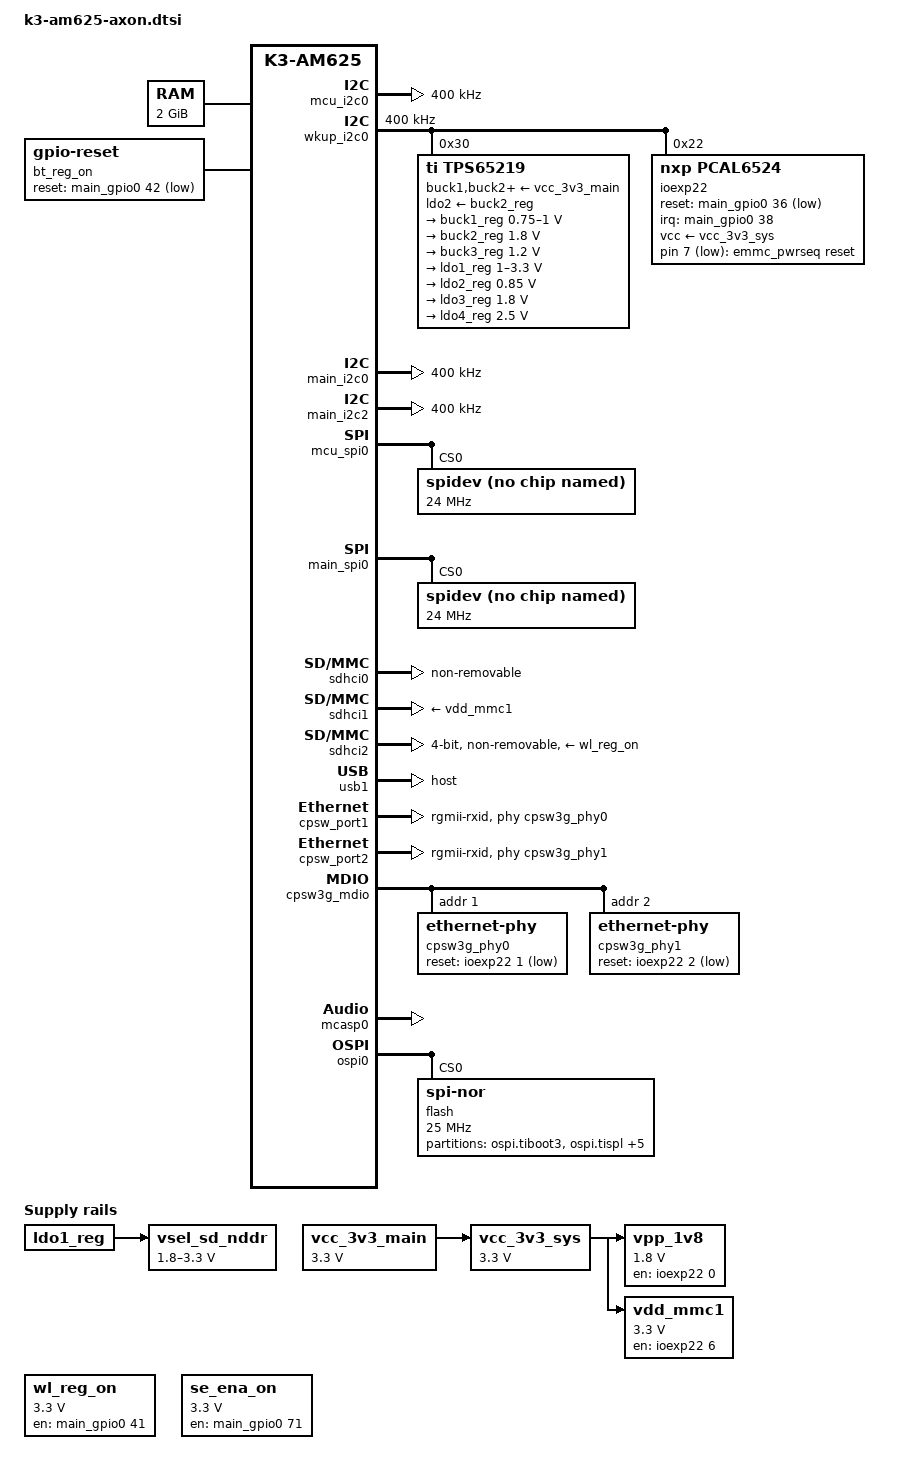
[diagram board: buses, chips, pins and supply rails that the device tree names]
// SPDX-License-Identifier: GPL-2.0
/*
 * Copyright (C) 2021-2022 Texas Instruments Incorporated - https://www.ti.com/
 * Copyright 2023 TechNexion Ltd.
 *
 * Author: Ray Chang <ray.chang@technexion.com>
 *
 */

/ {
	aliases {
		serial0 = &mcu_uart0;
		serial1 = &main_uart1;
		serial2 = &main_uart0;
		mmc0 = &sdhci0;
		mmc1 = &sdhci1;
		mmc2 = &sdhci2;
		spi0 = &ospi0;
		usb0 = &usb0;
		usb1 = &usb1;
		ethernet0 = &cpsw_port1;
		ethernet1 = &cpsw_port2;
	};

	chosen {
		stdout-path = "serial2:115200n8";
		bootargs = "console=ttyS2,115200n8 earlycon=ns16550a,mmio32,0x02800000";
	};

	opp-table {
		/* Add 1.4GHz OPP for am625 board. Requires VDD_CORE to be at 0.85V */
		opp-1400000000 {
			opp-hz = /bits/ 64 <1400000000>;
			opp-supported-hw = <0x01 0x0004>;
			clock-latency-ns = <6000000>;
		};
	};

	memory@80000000 {
		device_type = "memory";
		/* 2G RAM */
		reg = <0x00000000 0x80000000 0x00000000 0x80000000>;

	};

	reserved-memory {
		#address-cells = <2>;
		#size-cells = <2>;
		ranges;

		linux,cma {
			compatible = "shared-dma-pool";
			reusable;
			size = <0 0x14000000>;
			alloc-ranges = <0 0x80000000 0 0x40000000>;
			linux,cma-default;
		};

		rtos_ipc_memory_region: ipc-memories@9c800000 {
			compatible = "shared-dma-pool";
			reg = <0x00 0x9c800000 0x00 0x00300000>;
			no-map;
		};

		mcu_m4fss_dma_memory_region: m4f-dma-memory@9cb00000 {
			compatible = "shared-dma-pool";
			reg = <0x00 0x9cb00000 0x00 0x100000>;
			no-map;
		};

		mcu_m4fss_memory_region: m4f-memory@9cc00000 {
			compatible = "shared-dma-pool";
			reg = <0x00 0x9cc00000 0x00 0xe00000>;
			no-map;
		};

		wkup_r5fss0_core0_dma_memory_region: r5f-dma-memory@9da00000 {
			compatible = "shared-dma-pool";
			reg = <0x00 0x9da00000 0x00 0x00100000>;
			no-map;
		};

		wkup_r5fss0_core0_memory_region: r5f-memory@9db00000 {
			compatible = "shared-dma-pool";
			reg = <0x00 0x9db00000 0x00 0x00c00000>;
			no-map;
		};

		lpm_ctx_ddr: lpm-memory@9e700000 {
			reg = <0x00 0x9e700000 0x00 0x80000>;
			alignment = <0x1000>;
		};

		secure_tfa_ddr: tfa@9e780000 {
			reg = <0x00 0x9e780000 0x00 0x80000>;
			alignment = <0x1000>;
			no-map;
		};

		secure_ddr: optee@9e800000 {
			reg = <0x00 0x9e800000 0x00 0x01800000>; /* for OP-TEE */
			alignment = <0x1000>;
			no-map;
		};
	};

	vcc_3v3_main: regulator-0 {
		/* Output of TPS62095 */
		compatible = "regulator-fixed";
		regulator-name = "vcc_3v3_main";
		regulator-min-microvolt = <3300000>;
		regulator-max-microvolt = <3300000>;
		regulator-always-on;
		regulator-boot-on;
	};

	vcc_3v3_sys: regulator-1 {
		/* Output of TPS22965 */
		compatible = "regulator-fixed";
		regulator-name = "vcc_3v3_sys";
		regulator-min-microvolt = <3300000>;
		regulator-max-microvolt = <3300000>;
		vin-supply = <&vcc_3v3_main>;
		regulator-always-on;
		regulator-boot-on;
	};

	vpp_1v8: regulator-2 {
		/* Output of TLV75518 */
		compatible = "regulator-fixed";
		regulator-name = "vpp_1v8";
		regulator-min-microvolt = <1800000>;
		regulator-max-microvolt = <1800000>;
		vin-supply = <&vcc_3v3_sys>;
		regulator-boot-on;
		enable-active-high;
		regulator-always-on;
		gpio = <&ioexp22 0 GPIO_ACTIVE_HIGH>;
	};

	vdd_mmc1: regulator-3 {
		/* Output of MIC94040 */
		compatible = "regulator-fixed";
		regulator-name = "vdd_mmc1";
		regulator-min-microvolt = <3300000>;
		regulator-max-microvolt = <3300000>;
		regulator-boot-on;
		enable-active-high;
		regulator-always-on;
		vin-supply = <&vcc_3v3_sys>;
		gpio = <&ioexp22 6 GPIO_ACTIVE_HIGH>;
	};

	vsel_sd_nddr: gpio-regulator {
		compatible = "regulator-gpio";
		pinctrl-names = "default";
		pinctrl-0 = <&main_gpio0_vsel_sd_nddr_pins_default>;
		regulator-name = "tps65219-LDO1-SEL-SD";
		regulator-min-microvolt = <1800000>;
		regulator-max-microvolt = <3300000>;
		regulator-boot-on;
		vin-supply = <&ldo1_reg>;
		gpios = <&main_gpio0 31 GPIO_ACTIVE_HIGH>;
		states = <1800000 0x0>,
			 <3300000 0x1>;
	};

	wl_reg_on: regulator-4 {
		compatible = "regulator-fixed";
		pinctrl-names = "default";
		pinctrl-0 = <&main_gpio0_wlan_en_pins_default>;
		regulator-name = "wl_reg_on";
		regulator-min-microvolt = <3300000>;
		regulator-max-microvolt = <3300000>;
		gpio = <&main_gpio0 41 GPIO_ACTIVE_HIGH>;
		off-on-delay = <20000>;
		startup-delay-us = <100>;
		enable-active-high;
		regulator-boot-on;
	};

	bt_reg_on: regulator-5 {
		compatible = "gpio-reset";
		pinctrl-names = "default";
		pinctrl-0 = <&main_bt_en_pins_default>;
		reset-gpios = <&main_gpio0 42 GPIO_ACTIVE_LOW>;
		reset-delay-us = <2000>;
		reset-post-delay-ms = <200>;
		#reset-cells = <0>;
	};

	se_ena_on: regulator-6 {
		compatible = "regulator-fixed";
		pinctrl-names = "default";
		pinctrl-0 = <&main_gpio0_se_ena_pins_default>;
		regulator-name = "se_ena_on";
		regulator-min-microvolt = <3300000>;
		regulator-max-microvolt = <3300000>;
		gpio = <&main_gpio0 71 GPIO_ACTIVE_HIGH>;
		enable-active-high;
	};

	emmc_pwrseq: pwrseq@0 {
		compatible = "mmc-pwrseq-emmc";
		reset-gpios = <&ioexp22 7 GPIO_ACTIVE_LOW>;
	};
};

&mcu_pmx0 {
	wkup_i2c0_pins_default: wkup-i2c0-pins-default {
		pinctrl-single,pins = <
			AM62X_MCU_IOPAD(0x004c, PIN_INPUT, 0) /* (B9) WKUP_I2C0_SCL */
			AM62X_MCU_IOPAD(0x0050, PIN_INPUT, 0) /* (A9) WKUP_I2C0_SDA */
		>;
	};

	mcu_uart0_pins_default: mcu-uart0-pins-default {
		pinctrl-single,pins = <
			AM62X_MCU_IOPAD(0x001c, PIN_INPUT, 0) /* (A6) MCU_UART0_CTSn */
			AM62X_MCU_IOPAD(0x0020, PIN_OUTPUT, 0) /* (B6) MCU_UART0_RTSn */
			AM62X_MCU_IOPAD(0x0014, PIN_INPUT, 0) /* (B5) MCU_UART0_RXD */
			AM62X_MCU_IOPAD(0x0018, PIN_OUTPUT, 0) /* (A5) MCU_UART0_TXD */
		>;
	};

	mcu_spi0_pins_default: mcu-spi0-pins-default {
		pinctrl-single,pins = <
			AM62X_MCU_IOPAD(0x0008, PIN_OUTPUT, 0) /* (A7) MCU_SPI0_CLK */
			AM62X_MCU_IOPAD(0x0000, PIN_OUTPUT, 0) /* (E8) MCU_SPI0_CS0 */
			AM62X_MCU_IOPAD(0x0004, PIN_OUTPUT, 0) /* (B8) MCU_SPI0_CS1 */
			AM62X_MCU_IOPAD(0x000c, PIN_OUTPUT, 0) /* (D9) MCU_SPI0_D0 */
			AM62X_MCU_IOPAD(0x0010, PIN_INPUT, 0) /* (C9) MCU_SPI0_D1 */
		>;
	};

	mcu_i2c0_pins_default: mcu-i2c0-pins-default {
		pinctrl-single,pins = <
			AM62X_MCU_IOPAD(0x0044, PIN_INPUT, 0) /* (A8) MCU_I2C0_SCL */
			AM62X_MCU_IOPAD(0x0048, PIN_INPUT, 0) /* (D10) MCU_I2C0_SDA */
		>;
	};

	mcu_mcan0_pins_default: mcu-mcan0-pins-default {
		pinctrl-single,pins = <
			AM62X_MCU_IOPAD(0x0038, PIN_INPUT, 0) /* (B3) MCU_MCAN0_RX */
			AM62X_MCU_IOPAD(0x0034, PIN_OUTPUT, 0) /* (D6) MCU_MCAN0_TX */
		>;
	};

	mcu_mcan1_pins_default: mcu-mcan1-pins-default {
		pinctrl-single,pins = <
			AM62X_MCU_IOPAD(0x0040, PIN_INPUT, 0) /* (D4) MCU_MCAN1_RX */
			AM62X_MCU_IOPAD(0x003c, PIN_OUTPUT, 0) /* (E5) MCU_MCAN1_TX */
		>;
	};

	mcu_gpio0_touch_nrst_pins_default: mcu-gpio0-touch-nrst-pins-default {
		pinctrl-single,pins = <
			AM62X_MCU_IOPAD(0x002c, PIN_OUTPUT, 7) /* (C6) WKUP_UART0_CTSn.MCU_GPIO0_11 */
		>;
	};

	mcu_gpio0_aud_rst_pins_default: mcu-gpio0-aud-rst-pins-default {
		pinctrl-single,pins = <
			AM62X_MCU_IOPAD(0x0030, PIN_INPUT, 7) /* (A4) WKUP_UART0_RTSn.MCU_GPIO0_12 */
		>;
	};

	mcu_gpio0_rgmii1_irq_pins_default: mcu-gpio0-rgmii1-irq-pins-default {
		pinctrl-single,pins = <
			AM62X_MCU_IOPAD(0x0024, PIN_INPUT, 7) /* (B4) WKUP_UART0_RXD.MCU_GPIO0_9 */
		>;
	};

	mcu_gpio0_rgmii2_irq_pins_default: mcu-gpio0-rgmii2-irq-pins-default {
		pinctrl-single,pins = <
			AM62X_MCU_IOPAD(0x0028, PIN_INPUT, 7) /* (C5) WKUP_UART0_TXD.MCU_GPIO0_10 */
		>;
	};
};

&main_pmx0 {
	main_uart0_pins_default: main-uart0-pins-default {
		pinctrl-single,pins = <
			AM62X_IOPAD(0x01d0, PIN_INPUT, 0) /* (A15) UART0_CTSn */
			AM62X_IOPAD(0x01d4, PIN_OUTPUT, 0) /* (B15) UART0_RTSn */
			AM62X_IOPAD(0x01c8, PIN_INPUT, 0) /* (D14) UART0_RXD */
			AM62X_IOPAD(0x01cc, PIN_OUTPUT, 0) /* (E14) UART0_TXD */
		>;
	};

	main_uart1_pins_default: main-uart1-pins-default {
		pinctrl-single,pins = <
			AM62X_IOPAD(0x0194, PIN_INPUT, 2) /* (B19) MCASP0_AXR3.UART1_CTSn */
			AM62X_IOPAD(0x0198, PIN_OUTPUT, 2) /* (A19) MCASP0_AXR2.UART1_RTSn */
			AM62X_IOPAD(0x01e8, PIN_INPUT, 1) /* (B17) I2C1_SCL.UART1_RXD */
			AM62X_IOPAD(0x01ec, PIN_OUTPUT, 1) /* (A17) I2C1_SDA.UART1_TXD */
		>;
	};

	main_i2c0_pins_default: main-i2c0-pins-default {
		pinctrl-single,pins = <
			AM62X_IOPAD(0x01e0, PIN_INPUT, 0) /* (B16) I2C0_SCL */
			AM62X_IOPAD(0x01e4, PIN_INPUT, 0) /* (A16) I2C0_SDA */
		>;
	};

	main_i2c2_pins_default: main-i2c2-pins-default {
		pinctrl-single,pins = <
			AM62X_IOPAD(0x0b0, PIN_INPUT, 1) /* (K22) GPMC0_CSn2.I2C2_SCL */
			AM62X_IOPAD(0x0b4, PIN_INPUT, 1) /* (K24) GPMC0_CSn3.I2C2_SDA */
		>;
	};

	main_spi0_pins_default: main-spi0-pins-default {
		pinctrl-single,pins = <
			AM62X_IOPAD(0x01bc, PIN_OUTPUT, 0) /* (A14) SPI0_CLK */
			AM62X_IOPAD(0x01b4, PIN_OUTPUT, 0) /* (A13) SPI0_CS0 */
			AM62X_IOPAD(0x01c0, PIN_OUTPUT, 0) /* (B13) SPI0_D0 */
			AM62X_IOPAD(0x01c4, PIN_INPUT, 0) /* (B14) SPI0_D1 */
		>;
	};

	main_mmc0_pins_default: main-mmc0-pins-default {
		pinctrl-single,pins = <
			AM62X_IOPAD(0x220, PIN_INPUT, 0) /* (Y3) MMC0_CMD */
			AM62X_IOPAD(0x218, PIN_INPUT, 0) /* (AB1) MMC0_CLK */
			AM62X_IOPAD(0x214, PIN_INPUT, 0) /* (AA2) MMC0_DAT0 */
			AM62X_IOPAD(0x210, PIN_INPUT, 0) /* (AA1) MMC0_DAT1 */
			AM62X_IOPAD(0x20c, PIN_INPUT, 0) /* (AA3) MMC0_DAT2 */
			AM62X_IOPAD(0x208, PIN_INPUT, 0) /* (Y4) MMC0_DAT3 */
			AM62X_IOPAD(0x204, PIN_INPUT, 0) /* (AB2) MMC0_DAT4 */
			AM62X_IOPAD(0x200, PIN_INPUT, 0) /* (AC1) MMC0_DAT5 */
			AM62X_IOPAD(0x1fc, PIN_INPUT, 0) /* (AD2) MMC0_DAT6 */
			AM62X_IOPAD(0x1f8, PIN_INPUT, 0) /* (AC2) MMC0_DAT7 */
		>;
	};

	main_mmc1_pins_default: main-mmc1-pins-default {
		pinctrl-single,pins = <
			AM62X_IOPAD(0x23c, PIN_INPUT, 0) /* (A21) MMC1_CMD */
			AM62X_IOPAD(0x234, PIN_INPUT, 0) /* (B22) MMC1_CLK */
			AM62X_IOPAD(0x230, PIN_INPUT, 0) /* (A22) MMC1_DAT0 */
			AM62X_IOPAD(0x22c, PIN_INPUT, 0) /* (B21) MMC1_DAT1 */
			AM62X_IOPAD(0x228, PIN_INPUT, 0) /* (C21) MMC1_DAT2 */
			AM62X_IOPAD(0x224, PIN_INPUT, 0) /* (D22) MMC1_DAT3 */
			AM62X_IOPAD(0x240, PIN_INPUT, 0) /* (D17) MMC1_SDCD */
		>;
	};

	main_mmc2_pins_default: main-mmc2-pins-default {
		pinctrl-single,pins = <
			AM62X_IOPAD(0x120, PIN_INPUT, 0) /* (C24) MMC2_CMD */
			AM62X_IOPAD(0x118, PIN_INPUT, 0) /* (D25) MMC2_CLK */
			AM62X_IOPAD(0x114, PIN_INPUT, 0) /* (B24) MMC2_DAT0 */
			AM62X_IOPAD(0x110, PIN_INPUT, 0) /* (C25) MMC2_DAT1 */
			AM62X_IOPAD(0x10c, PIN_INPUT, 0) /* (E23) MMC2_DAT2 */
			AM62X_IOPAD(0x108, PIN_INPUT, 0) /* (D24) MMC2_DAT3 */
			AM62X_IOPAD(0x11c, PIN_INPUT, 0) /* (#N/A) MMC2_CLKB */
		>;
	};

	main_gpio0_wlan_en_pins_default: main-gpio0-wlan-en-pins-default {
		pinctrl-single,pins = <
			AM62X_IOPAD(0x00a8, PIN_OUTPUT_PULLUP, 7) /* (M21) GPMC0_CSn0.GPIO0_41 */
			AM62X_IOPAD(0x128, PIN_OUTPUT_PULLUP, 7) /* (B23) MMC2_SDWP.GPIO0_72 */
		>;
	};

	main_bt_en_pins_default: main-bt-en-pins-default {
		pinctrl-single,pins = <
			AM62X_IOPAD(0x00ac, PIN_OUTPUT_PULLUP, 7) /* (L21) GPMC0_CSn1.GPIO0_42 */
			AM62X_IOPAD(0x0244, PIN_OUTPUT_PULLUP, 7) /* (C17) MMC1_SDWP.GPIO1_49 */
		>;
	};

	main_gpio0_se_ena_pins_default: main-gpio0-se-ena-pins-default {
		pinctrl-single,pins = <
			AM62X_IOPAD(0x124, PIN_OUTPUT, 7) /* (A23) MMC2_SDCD.GPIO0_71 */
		>;
	};

	main_gpio0_se_clk_pins_default: main-gpio0-se-clk-pins-default {
		pinctrl-single,pins = <
			AM62X_IOPAD(0x00a4, PIN_INPUT, 7) /* (M22) GPMC0_DIR.GPIO0_40 */
		>;
	};

	main_gpio0_vsel_sd_nddr_pins_default: main-gpio0-vsel-sd-nddr-pins-default {
		pinctrl-single,pins = <
			AM62X_IOPAD(0x07c, PIN_OUTPUT, 7) /* (P25) GPMC0_CLK.GPIO0_31 */
		>;
	};

	main_mdio0_pins_default: main-mdio0-pins-default {
		pinctrl-single,pins = <
			AM62X_IOPAD(0x160, PIN_OUTPUT, 0) /* (AD24) MDIO0_MDC */
			AM62X_IOPAD(0x15c, PIN_INPUT, 0) /* (AB22) MDIO0_MDIO */
		>;
	};

	main_rgmii1_pins_default: main-rgmii1-pins-default {
		pinctrl-single,pins = <
			AM62X_IOPAD(0x14c, PIN_INPUT, 0) /* (AB17) RGMII1_RD0 */
			AM62X_IOPAD(0x150, PIN_INPUT, 0) /* (AC17) RGMII1_RD1 */
			AM62X_IOPAD(0x154, PIN_INPUT, 0) /* (AB16) RGMII1_RD2 */
			AM62X_IOPAD(0x158, PIN_INPUT, 0) /* (AA15) RGMII1_RD3 */
			AM62X_IOPAD(0x148, PIN_INPUT, 0) /* (AD17) RGMII1_RXC */
			AM62X_IOPAD(0x144, PIN_INPUT, 0) /* (AE17) RGMII1_RX_CTL */
			AM62X_IOPAD(0x134, PIN_OUTPUT, 0) /* (AE20) RGMII1_TD0 */
			AM62X_IOPAD(0x138, PIN_OUTPUT, 0) /* (AD20) RGMII1_TD1 */
			AM62X_IOPAD(0x13c, PIN_OUTPUT, 0) /* (AE18) RGMII1_TD2 */
			AM62X_IOPAD(0x140, PIN_OUTPUT, 0) /* (AD18) RGMII1_TD3 */
			AM62X_IOPAD(0x130, PIN_OUTPUT, 0) /* (AE19) RGMII1_TXC */
			AM62X_IOPAD(0x12c, PIN_OUTPUT, 0) /* (AD19) RGMII1_TX_CTL */
		>;
	};

	main_rgmii2_pins_default: main-rgmii2-pins-default {
		pinctrl-single,pins = <
			AM62X_IOPAD(0x184, PIN_INPUT, 0) /* (AE23) RGMII2_RD0 */
			AM62X_IOPAD(0x188, PIN_INPUT, 0) /* (AB20) RGMII2_RD1 */
			AM62X_IOPAD(0x18c, PIN_INPUT, 0) /* (AC21) RGMII2_RD2 */
			AM62X_IOPAD(0x190, PIN_INPUT, 0) /* (AE22) RGMII2_RD3 */
			AM62X_IOPAD(0x180, PIN_INPUT, 0) /* (AD23) RGMII2_RXC */
			AM62X_IOPAD(0x17c, PIN_INPUT, 0) /* (AD22) RGMII2_RX_CTL */
			AM62X_IOPAD(0x16c, PIN_OUTPUT, 0) /* (Y18) RGMII2_TD0 */
			AM62X_IOPAD(0x170, PIN_OUTPUT, 0) /* (AA18) RGMII2_TD1 */
			AM62X_IOPAD(0x174, PIN_OUTPUT, 0) /* (AD21) RGMII2_TD2 */
			AM62X_IOPAD(0x178, PIN_OUTPUT, 0) /* (AC20) RGMII2_TD3 */
			AM62X_IOPAD(0x168, PIN_OUTPUT, 0) /* (AE21) RGMII2_TXC */
			AM62X_IOPAD(0x164, PIN_OUTPUT, 0) /* (AA19) RGMII2_TX_CTL */
		>;
	};

	ospi0_pins_default: ospi0-pins-default {
		pinctrl-single,pins = <
			AM62X_IOPAD(0x000, PIN_OUTPUT, 0) /* (H24) OSPI0_CLK */
			AM62X_IOPAD(0x02c, PIN_OUTPUT, 0) /* (F23) OSPI0_CSn0 */
			AM62X_IOPAD(0x00c, PIN_INPUT, 0) /* (E25) OSPI0_D0 */
			AM62X_IOPAD(0x010, PIN_INPUT, 0) /* (G24) OSPI0_D1 */
			AM62X_IOPAD(0x014, PIN_INPUT, 0) /* (F25) OSPI0_D2 */
			AM62X_IOPAD(0x018, PIN_INPUT, 0) /* (F24) OSPI0_D3 */
			AM62X_IOPAD(0x01c, PIN_INPUT, 0) /* (J23) OSPI0_D4 */
			AM62X_IOPAD(0x020, PIN_INPUT, 0) /* (J25) OSPI0_D5 */
			AM62X_IOPAD(0x024, PIN_INPUT, 0) /* (H25) OSPI0_D6 */
			AM62X_IOPAD(0x028, PIN_INPUT, 0) /* (J22) OSPI0_D7 */
			AM62X_IOPAD(0x008, PIN_INPUT, 0) /* (J24) OSPI0_DQS */
			AM62X_IOPAD(0x0004, PIN_INPUT, 0) /* (G25) OSPI0_LBCLKO */
			AM62X_IOPAD(0x0030, PIN_INPUT, 7) /* (G21) OSPI0_CSn1.GPIO0_12 */
			AM62X_IOPAD(0x0034, PIN_INPUT, 7) /* (H21) OSPI0_CSn2.GPIO0_13 */
		>;
	};

	main_dss0_pins_default: main-dss0-pins-default {
		pinctrl-single,pins = <
			AM62X_IOPAD(0x0100, PIN_OUTPUT, 0) /* (AC25) VOUT0_VSYNC */
			AM62X_IOPAD(0x00f8, PIN_OUTPUT, 0) /* (AB24) VOUT0_HSYNC */
			AM62X_IOPAD(0x0104, PIN_OUTPUT, 0) /* (AC24) VOUT0_PCLK */
			AM62X_IOPAD(0x00fc, PIN_OUTPUT, 0) /* (Y20) VOUT0_DE */
			AM62X_IOPAD(0x00b8, PIN_OUTPUT, 0) /* (U22) VOUT0_DATA0 */
			AM62X_IOPAD(0x00bc, PIN_OUTPUT, 0) /* (V24) VOUT0_DATA1 */
			AM62X_IOPAD(0x00c0, PIN_OUTPUT, 0) /* (W25) VOUT0_DATA2 */
			AM62X_IOPAD(0x00c4, PIN_OUTPUT, 0) /* (W24) VOUT0_DATA3 */
			AM62X_IOPAD(0x00c8, PIN_OUTPUT, 0) /* (Y25) VOUT0_DATA4 */
			AM62X_IOPAD(0x00cc, PIN_OUTPUT, 0) /* (Y24) VOUT0_DATA5 */
			AM62X_IOPAD(0x00d0, PIN_OUTPUT, 0) /* (Y23) VOUT0_DATA6 */
			AM62X_IOPAD(0x00d4, PIN_OUTPUT, 0) /* (AA25) VOUT0_DATA7 */
			AM62X_IOPAD(0x00d8, PIN_OUTPUT, 0) /* (V21) VOUT0_DATA8 */
			AM62X_IOPAD(0x00dc, PIN_OUTPUT, 0) /* (W21) VOUT0_DATA9 */
			AM62X_IOPAD(0x00e0, PIN_OUTPUT, 0) /* (V20) VOUT0_DATA10 */
			AM62X_IOPAD(0x00e4, PIN_OUTPUT, 0) /* (AA23) VOUT0_DATA11 */
			AM62X_IOPAD(0x00e8, PIN_OUTPUT, 0) /* (AB25) VOUT0_DATA12 */
			AM62X_IOPAD(0x00ec, PIN_OUTPUT, 0) /* (AA24) VOUT0_DATA13 */
			AM62X_IOPAD(0x00f0, PIN_OUTPUT, 0) /* (Y22) VOUT0_DATA14 */
			AM62X_IOPAD(0x00f4, PIN_OUTPUT, 0) /* (AA21) VOUT0_DATA15 */
			AM62X_IOPAD(0x005c, PIN_OUTPUT, 1) /* (R24) GPMC0_AD8.VOUT0_DATA16 */
			AM62X_IOPAD(0x0060, PIN_OUTPUT, 1) /* (R25) GPMC0_AD9.VOUT0_DATA17 */
			AM62X_IOPAD(0x0064, PIN_OUTPUT, 1) /* (T25) GPMC0_AD10.VOUT0_DATA18 */
			AM62X_IOPAD(0x0068, PIN_OUTPUT, 1) /* (R21) GPMC0_AD11.VOUT0_DATA19 */
			AM62X_IOPAD(0x006c, PIN_OUTPUT, 1) /* (T22) GPMC0_AD12.VOUT0_DATA20 */
			AM62X_IOPAD(0x0070, PIN_OUTPUT, 1) /* (T24) GPMC0_AD13.VOUT0_DATA21 */
			AM62X_IOPAD(0x0074, PIN_OUTPUT, 1) /* (U25) GPMC0_AD14.VOUT0_DATA22 */
			AM62X_IOPAD(0x0078, PIN_OUTPUT, 1) /* (U24) GPMC0_AD15.VOUT0_DATA23 */
		>;
	};

	main_oldi0_pins_default: main-oldi0-pins-default {
		pinctrl-single,pins = <
			AM62X_IOPAD(0x0260, PIN_OUTPUT, 0) /* (AA5) OLDI0_A0N */
			AM62X_IOPAD(0x025c, PIN_OUTPUT, 0) /* (Y6) OLDI0_A0P */
			AM62X_IOPAD(0x0268, PIN_OUTPUT, 0) /* (AD3) OLDI0_A1N */
			AM62X_IOPAD(0x0264, PIN_OUTPUT, 0) /* (AB4) OLDI0_A1P */
			AM62X_IOPAD(0x0270, PIN_OUTPUT, 0) /* (Y8) OLDI0_A2N */
			AM62X_IOPAD(0x026c, PIN_OUTPUT, 0) /* (AA8) OLDI0_A2P */
			AM62X_IOPAD(0x0278, PIN_OUTPUT, 0) /* (AB6) OLDI0_A3N */
			AM62X_IOPAD(0x0274, PIN_OUTPUT, 0) /* (AA7) OLDI0_A3P */
			AM62X_IOPAD(0x0280, PIN_OUTPUT, 0) /* (AC6) OLDI0_A4N */
			AM62X_IOPAD(0x027c, PIN_OUTPUT, 0) /* (AC5) OLDI0_A4P */
			AM62X_IOPAD(0x0288, PIN_OUTPUT, 0) /* (AE5) OLDI0_A5N */
			AM62X_IOPAD(0x0284, PIN_OUTPUT, 0) /* (AD6) OLDI0_A5P */
			AM62X_IOPAD(0x0290, PIN_OUTPUT, 0) /* (AE6) OLDI0_A6N */
			AM62X_IOPAD(0x028c, PIN_OUTPUT, 0) /* (AD7) OLDI0_A6P */
			AM62X_IOPAD(0x0298, PIN_OUTPUT, 0) /* (AD8) OLDI0_A7N */
			AM62X_IOPAD(0x0294, PIN_OUTPUT, 0) /* (AE7) OLDI0_A7P */
			AM62X_IOPAD(0x02a0, PIN_OUTPUT, 0) /* (AD4) OLDI0_CLK0N */
			AM62X_IOPAD(0x029c, PIN_OUTPUT, 0) /* (AE3) OLDI0_CLK0P */
			AM62X_IOPAD(0x02a8, PIN_OUTPUT, 0) /* (AE4) OLDI0_CLK1N */
			AM62X_IOPAD(0x02a4, PIN_OUTPUT, 0) /* (AD5) OLDI0_CLK1P */
		>;
	};

	main_epwm0_pins_default: main-epwm0-pins-default {
		pinctrl-single,pins = <
			AM62X_IOPAD(0x01ac, PIN_OUTPUT, 6) /* (E19) MCASP0_AFSR.EHRPWM0_A */
			AM62X_IOPAD(0x01b0, PIN_OUTPUT, 6) /* (A20) MCASP0_ACLKR.EHRPWM0_B */
		>;
	};

	main_gpio0_lvds_pwr_pins_default: main-gpio0-lvds-pwr-pins-default {
		pinctrl-single,pins = <
			AM62X_IOPAD(0x0088, PIN_OUTPUT, 7) /* (L24) GPMC0_OEn_REn.GPIO0_33 */
		>;
	};

	main_gpio0_lvds_backlight_pwr_pins_default: main-gpio0-lvds-backlight-pwr-pins-default {
		pinctrl-single,pins = <
			AM62X_IOPAD(0x00a0, PIN_OUTPUT, 7) /* (K25) GPMC0_WPn.GPIO0_39 */
		>;
	};

	main_gpio1_touch_intr_pins_default: main-gpio1-touch-intr-pins-default {
		pinctrl-single,pins = <
			AM62X_IOPAD(0x01dc, PIN_INPUT, 7) /* (E15) MCAN0_RX.GPIO1_25 */
		>;
	};

	main_gpio0_ioexp22_ctrl_pins_default: main-gpio0-ioexp22-ctrl-pins-default {
		pinctrl-single,pins = <
			AM62X_IOPAD(0x0094, PIN_OUTPUT, 7) /* (N20) GPMC0_BE1n.GPIO0_36 */
			AM62X_IOPAD(0x009c, PIN_INPUT, 7) /* (V25) GPMC0_WAIT1.GPIO0_38 */
		>;
	};

	main_gpio1_usb0_pins_default: main-usb1-pins-default {
		pinctrl-single,pins = <
			AM62X_IOPAD(0x0254, PIN_OUTPUT, 7) /* (C20) USB0_DRVVBUS.GPIO1_50 */
		>;
	};

	main_mcasp0_pins_default: main-mcasp0-pins-default {
		pinctrl-single,pins = <

			AM62X_IOPAD(0x01a4, PIN_INPUT, 0) /* (B20) MCASP0_ACLKX */
			AM62X_IOPAD(0x01a8, PIN_INPUT, 0) /* (D20) MCASP0_AFSX */
			AM62X_IOPAD(0x01a0, PIN_INPUT, 0) /* (E18) MCASP0_AXR0 */
			AM62X_IOPAD(0x019c, PIN_INPUT, 0) /* (B18) MCASP0_AXR1 */
		>;
	};

	main_mcasp1_pins_default: main-mcasp1-pins-default {
		pinctrl-single,pins = <
			AM62X_IOPAD(0x0090, PIN_INPUT, 2) /* (M24) GPMC0_BE0N_CLE.MCASP1_ACLKX */
			AM62X_IOPAD(0x0098, PIN_INPUT, 2) /* (U23) GPMC0_WAIT0.MCASP1_AFSX */
			AM62X_IOPAD(0x008c, PIN_OUTPUT, 2) /* (L25) GPMC0_WEN.MCASP1_AXR0 */
			AM62X_IOPAD(0x0084, PIN_INPUT, 2) /* (L23) GPMC0_ADVN_ALE.MCASP1_AXR2 */
		>;
	};

	pmic_irq_pins_default: pmic-irq-pins-default {
		pinctrl-single,pins = <
			AM62X_IOPAD(0x01f4, PIN_INPUT, 7) /* (D16) EXTINTn.GPIO1_31 */
		>;
	};

	main_gpio1_csi_ctrl_pins_default: main-gpio1-csi-ctrl-pins-default {
		pinctrl-single,pins = <
			AM62X_IOPAD(0x01d8, PIN_OUTPUT, 7) /* (C15) MCAN0_TX.GPIO1_24 */
			AM62X_IOPAD(0x0254, PIN_INPUT, 7) /* (C20) USB0_DRVVBUS.GPIO1_50 */
		>;
	};
};

/* UART_B on AXON */
&mcu_uart0 {
	pinctrl-names = "default";
	pinctrl-0 = <&mcu_uart0_pins_default>;
};

&wkup_uart0 {
	/* WKUP UART0 is used by DM firmware */
	status = "reserved";
};

/* UART_A on AXON, console */
&main_uart0 {
	pinctrl-names = "default";
	pinctrl-0 = <&main_uart0_pins_default>;
};

/* BT */
&main_uart1 {
	pinctrl-names = "default";
	pinctrl-0 = <&main_uart1_pins_default>;
	resets = <&bt_reg_on>;
};

&main_uart2 {
	status = "disabled";
};

&main_uart3 {
	status = "disabled";
};

&main_uart4 {
	status = "disabled";
};

&main_uart5 {
	status = "disabled";
};

&main_uart6 {
	status = "disabled";
};

/* I2C_C on AXON */
&mcu_i2c0 {
	pinctrl-names = "default";
	pinctrl-0 = <&mcu_i2c0_pins_default>;
	clock-frequency = <400000>;
};

/* I2C on SOM */
&wkup_i2c0 {
	pinctrl-names = "default";
	pinctrl-0 = <&wkup_i2c0_pins_default>;
	clock-frequency = <400000>;

	tps65219: pmic@30 {
		compatible = "ti,tps65219";
		reg = <0x30>;
		system-power-controller;
		pinctrl-names = "default";
		pinctrl-0 = <&pmic_irq_pins_default>;
		interrupt-parent = <&gic500>;
		interrupts = <GIC_SPI 224 IRQ_TYPE_LEVEL_HIGH>;
		ti,power-button;

		buck1-supply = <&vcc_3v3_main>;
		buck2-supply = <&vcc_3v3_main>;
		buck3-supply = <&vcc_3v3_main>;
		ldo1-supply = <&vcc_3v3_main>;
		ldo2-supply = <&buck2_reg>;
		ldo3-supply = <&vcc_3v3_main>;
		ldo4-supply = <&vcc_3v3_main>;

		regulators {
			buck1_reg: buck1 {
				regulator-name = "VDD_CORE";
				regulator-min-microvolt = <750000>;
				regulator-max-microvolt = <1000000>;
				regulator-boot-on;
				regulator-always-on;
			};

			buck2_reg: buck2 {
				regulator-name = "VCC1V8";
				regulator-min-microvolt = <1800000>;
				regulator-max-microvolt = <1800000>;
				regulator-boot-on;
				regulator-always-on;
			};

			buck3_reg: buck3 {
				regulator-name = "VDD_DDR4";
				regulator-min-microvolt = <1200000>;
				regulator-max-microvolt = <1200000>;
				regulator-boot-on;
				regulator-always-on;
			};

			ldo1_reg: ldo1 {
				regulator-name = "VDDSHV_SD_IO_PMIC";
				regulator-min-microvolt = <1000000>;
				regulator-max-microvolt = <3300000>;
				regulator-allow-bypass;
				regulator-always-on;
			};

			ldo2_reg: ldo2 {
				regulator-name = "VDDAR_CORE";
				regulator-min-microvolt = <850000>;
				regulator-max-microvolt = <850000>;
				regulator-boot-on;
				regulator-always-on;
			};

			ldo3_reg: ldo3 {
				regulator-name = "VDDA_1V8";
				regulator-min-microvolt = <1800000>;
				regulator-max-microvolt = <1800000>;
				regulator-boot-on;
				regulator-always-on;
			};

			ldo4_reg: ldo4 {
				regulator-name = "VDD_PHY_2V5";
				regulator-min-microvolt = <2500000>;
				regulator-max-microvolt = <2500000>;
				regulator-boot-on;
				regulator-always-on;
			};
		};
	};

	ioexp22: pcal6524@22 {
		compatible = "nxp,pcal6524";
		reg = <0x22>;
		vcc-supply = <&vcc_3v3_sys>;
		pinctrl-names = "default";
		pinctrl-0 = <&main_gpio0_ioexp22_ctrl_pins_default>;
		reset-gpios = <&main_gpio0 36 GPIO_ACTIVE_LOW>;
		interrupt-parent = <&main_gpio0>;
		interrupts = <38 IRQ_TYPE_EDGE_FALLING>;
		gpio-controller;
		#gpio-cells = <2>;
		interrupt-controller;
		#interrupt-cells = <2>;
		gpio-line-names = "VPP_LDO_EN", "GPIO_ENET1_RST", "GPIO_ENET2_RST", "SE_RST", "DISP_BKLEN", "GPIO_X2_P22", "MMC1_SD_EN", "GPIO_eMMC_RSTn",
				   "", "", "", "", "", "", "GPIO_X3_P69", "GPIO_X3_P71",
				   "GPIO_X1_P66", "GPIO_X1_P68", "GPIO_X1_P70", "GPIO_X1_P72", "GPIO_X1_P74", "GPIO_X1_P76", "GPIO_X1_P78", "GPIO_X1_P80";
	};
};

/* I2C_A on AXON */
&main_i2c0 {
	pinctrl-names = "default";
	pinctrl-0 = <&main_i2c0_pins_default>;
	clock-frequency = <400000>;
};

&main_i2c1 {
	status = "disabled";
};

/* I2C_B on AXON */
&main_i2c2 {
	pinctrl-names = "default";
	pinctrl-0 = <&main_i2c2_pins_default>;
	clock-frequency = <400000>;
};

&main_i2c3 {
	status = "disabled";
};

/* SPI_B on AXON */
&mcu_spi0 {
	pinctrl-names = "default";
	pinctrl-0 = <&mcu_spi0_pins_default>;
	#address-cells = <1>;
	#size-cells= <0>;
	ti,pindir-d0-out-d1-in = <1>;

	spidev@0 {
		compatible = "rohm,dh2228fv";
		spi-max-frequency = <24000000>;
		reg = <0>;
	};
};

/* SPI_A on AXON */
&main_spi0 {
	pinctrl-names = "default";
	pinctrl-0 = <&main_spi0_pins_default>;
	#address-cells = <1>;
	#size-cells= <0>;
	ti,pindir-d0-out-d1-in = <1>;

	spidev@0 {
		compatible = "rohm,dh2228fv";
		spi-max-frequency = <24000000>;
		reg = <0>;
	};
};

/* eMMC on SOM */
&sdhci0 {
	pinctrl-names = "default";
	pinctrl-0 = <&main_mmc0_pins_default>;
	mmc-pwrseq = <&emmc_pwrseq>;
	ti,driver-strength-ohm = <50>;
	non-removable;
	disable-wp;
};

/* SD card on baseboard */
&sdhci1 {
	vmmc-supply = <&vdd_mmc1>;
	vqmmc-supply = <&vsel_sd_nddr>;
	pinctrl-names = "default";
	pinctrl-0 = <&main_mmc1_pins_default>;
	ti,driver-strength-ohm = <50>;
	disable-wp;
};

/* WIFI SDIO */
&sdhci2 {
	pinctrl-names = "default";
	pinctrl-0 = <&main_mmc2_pins_default>;
	vmmc-supply = <&wl_reg_on>;
	bus-width = <4>;
	non-removable;
	ti,fails-without-test-cd;
	cap-power-off-card;
	keep-power-in-suspend;
	ti,driver-strength-ohm = <50>;
	max-frequency = <100000000>;
};

&usbss0 {
	ti,vbus-divider;
};

&usbss1 {
	ti,vbus-divider;
};

&usb0 {
	#address-cells = <1>;
	#size-cells = <0>;
	usb-role-switch;
};

&usb1 {
	dr_mode = "host";
};

&cpsw3g {
	pinctrl-names = "default";
	pinctrl-0 = <&main_mdio0_pins_default
		     &main_rgmii1_pins_default
		     &main_rgmii2_pins_default>;
};

&cpsw_port1 {
	phy-mode = "rgmii-rxid";
	phy-handle = <&cpsw3g_phy0>;
};

&cpsw_port2 {
	phy-mode = "rgmii-rxid";
	phy-handle = <&cpsw3g_phy1>;
};

&cpsw3g_mdio {
	cpsw3g_phy0: ethernet-phy@1 {
		reg = <1>;
		reset-assert-us = <35000>;
		reset-deassert-us = <75000>;
		reset-gpios = <&ioexp22 1 GPIO_ACTIVE_LOW>;
		ti,rx-internal-delay = <DP83867_RGMIIDCTL_2_00_NS>;
		ti,fifo-depth = <DP83867_PHYCR_FIFO_DEPTH_4_B_NIB>;
		ti,min-output-impedance;
		rtl821x,phy-mode-eee-disable;
	};

	cpsw3g_phy1: ethernet-phy@2 {
		reg = <2>;
		reset-assert-us = <35000>;
		reset-deassert-us = <75000>;
		reset-gpios = <&ioexp22 2 GPIO_ACTIVE_LOW>;
		ti,rx-internal-delay = <DP83867_RGMIIDCTL_2_00_NS>;
		ti,fifo-depth = <DP83867_PHYCR_FIFO_DEPTH_4_B_NIB>;
		ti,min-output-impedance;
		rtl821x,phy-mode-eee-disable;
	};
};

&dss {
	pinctrl-names = "default";
	pinctrl-0 = <&main_dss0_pins_default &main_oldi0_pins_default>;
};

&dss_ports {
	#address-cells = <1>;
	#size-cells = <0>;
};

/* AUD_A on AXON */
&mcasp0 {
	status = "okay";
	#sound-dai-cells = <0>;

	pinctrl-names = "default";
	pinctrl-0 = <&main_mcasp0_pins_default>;

	op-mode = <0>;          /* MCASP_IIS_MODE */
	tdm-slots = <2>;

	serial-dir = <  /* 0: INACTIVE, 1: TX, 2: RX */
	       1 2 0 0
	       0 0 0 0
	       0 0 0 0
	       0 0 0 0
	>;
	tx-num-evt = <32>;
	rx-num-evt = <32>;
};

/* AUD_B on AXON */
&mcasp1 {
	status = "disabled";
	pinctrl-names = "default";
	pinctrl-0 = <&main_mcasp1_pins_default>;
};

&mcasp2 {
	status = "disabled";
};

&mailbox0_cluster0 {
	mbox_m4_0: mbox-m4-0 {
		ti,mbox-rx = <0 0 0>;
		ti,mbox-tx = <1 0 0>;
	};

	mbox_r5_0: mbox-r5-0 {
		ti,mbox-rx = <2 0 0>;
		ti,mbox-tx = <3 0 0>;
	};
};

&ospi0 {
	pinctrl-names = "default";
	pinctrl-0 = <&ospi0_pins_default>;

	flash@0 {
		compatible = "jedec,spi-nor";
		reg = <0x0>;
		spi-tx-bus-width = <8>;
		spi-rx-bus-width = <8>;
		spi-max-frequency = <25000000>;
		cdns,tshsl-ns = <60>;
		cdns,tsd2d-ns = <60>;
		cdns,tchsh-ns = <60>;
		cdns,tslch-ns = <60>;
		cdns,read-delay = <4>;
		cdns,phy-mode;

		partitions {
			compatible = "fixed-partitions";
			#address-cells = <1>;
			#size-cells = <1>;

			partition@0 {
				label = "ospi.tiboot3";
				reg = <0x0 0x80000>;
			};

			partition@80000 {
				label = "ospi.tispl";
				reg = <0x80000 0x200000>;
			};

			partition@280000 {
				label = "ospi.u-boot";
				reg = <0x280000 0x400000>;
			};

			partition@680000 {
				label = "ospi.env";
				reg = <0x680000 0x40000>;
			};

			partition@6c0000 {
				label = "ospi.env.backup";
				reg = <0x6c0000 0x40000>;
			};

			partition@800000 {
				label = "ospi.rootfs";
				reg = <0x800000 0x37c0000>;
			};

			partition@3fc0000 {
				label = "ospi.phypattern";
				reg = <0x3fc0000 0x40000>;
			};
		};
	};
};

&mcu_m4fss {
	mboxes = <&mailbox0_cluster0 &mbox_m4_0>;
	memory-region = <&mcu_m4fss_dma_memory_region>,
			<&mcu_m4fss_memory_region>;
};

&wkup_r5fss0_core0 {
	mboxes = <&mailbox0_cluster0 &mbox_r5_0>;
	memory-region = <&wkup_r5fss0_core0_dma_memory_region>,
			<&wkup_r5fss0_core0_memory_region>;
};

&main_mcan0 {
	status = "disabled";
};

&mcu_rti0 {
	/* MCU RTI0 is used by M4F firmware */
	status = "reserved";
};

&wkup_rti0 {
	/* WKUP RTI0 is used by DM firmware */
	status = "reserved";
};

&epwm0 {
	pinctrl-names = "default";
	pinctrl-0 = <&main_epwm0_pins_default>;
};

&epwm1 {
	status = "disabled";
};

&epwm2 {
	status = "disabled";
};

&ecap0_pwm {
	status = "disabled";
};

&ecap1_pwm {
	status = "disabled";
};

&ecap2_pwm {
	status = "disabled";
};
